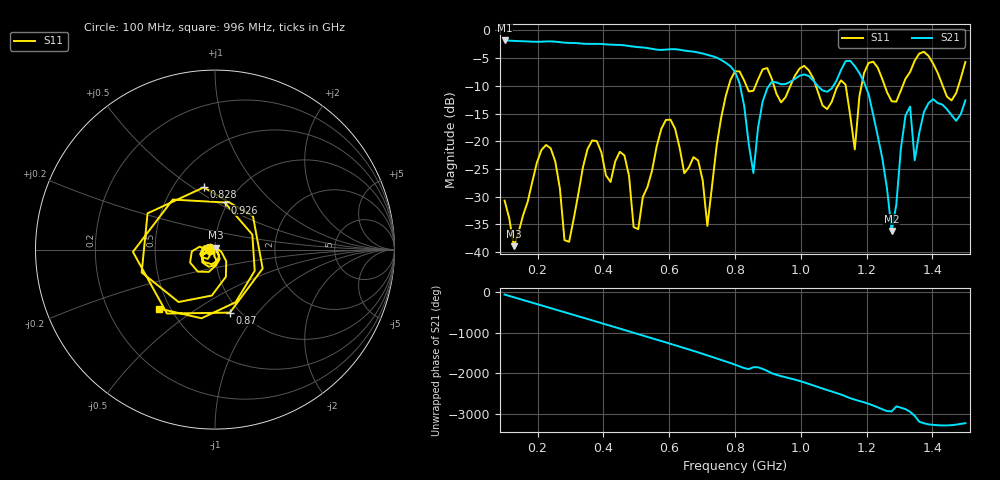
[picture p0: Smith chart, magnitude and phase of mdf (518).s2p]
! NanoVNA-App
! Date: 2025-09-25 15:42:27
! Start: 100MHz Stop: 1,5GHz Points: 101
! S-Parameter data: F S11 S21 S12 S22
# Hz S RI R 50
!  Frequency  S11_Real  S11_Imag  S21_Real  S21_Imag  S12_Real  S12_Imag  S22_Real  S22_Imag
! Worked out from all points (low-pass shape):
!   101 points, 100 MHz to 1.5 GHz, reference 50 ohm
!   highest |S21| = -1.80 dB at 100 MHz (marker M1); lowest = -36.2 dB at 1.276 GHz (marker M2)
!   |S21| within 3 dB of the highest: start of sweep to 739.3 MHz
!   lowest |S11| = -39.0 dB at 128 MHz (marker M3), VSWR 1.02, Z = 50.3 + j1.08 ohm
!   |S11| at or under -10 dB: start of sweep to 781 MHz; 918.5 MHz to 968.2 MHz (49.76 MHz wide, 5.27 % of centre); 1.046 GHz to 1.113 GHz (66.97 MHz wide, 6.21 % of centre) (the widest 3 of 7)
!   S12 and S22 are empty: the file has one direction only
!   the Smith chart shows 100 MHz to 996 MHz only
!   S11 on the Smith chart (normalised r, x): 100 MHz: 0.94, -0.01; 828 MHz: 0.70, +0.55; 870 MHz: 0.90, -0.73; 926 MHz: 0.96, +0.54; 996 MHz: 0.44, -0.36
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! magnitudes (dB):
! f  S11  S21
! 100 MHz  -30.7  -1.8
! 128 MHz  -39.0  -1.9
! 212 MHz  -21.6  -2.0
! 282 MHz  -37.9  -2.2
! 338 MHz  -24.7  -2.4
! 464 MHz  -22.6  -2.7
! 506 MHz  -35.9  -3.0
! 576 MHz  -17.8  -3.5
! 716 MHz  -35.3  -4.4
! 800 MHz  -7.4  -7.4
! 828 MHz  -9.1  -13.7
! 856 MHz  -10.9  -25.8
! 870 MHz  -8.9  -17.6
! 926 MHz  -11.4  -9.4
! 996 MHz  -6.9  -8.2
! 1.038 GHz  -8.7  -9.1
! 1.164 GHz  -21.5  -6.4
! 1.178 GHz  -11.9  -7.7
! 1.276 GHz  -12.8  -36.2
! 1.332 GHz  -7.5  -13.8
! 1.346 GHz  -5.5  -23.5
! 1.5 GHz  -5.7  -12.6
